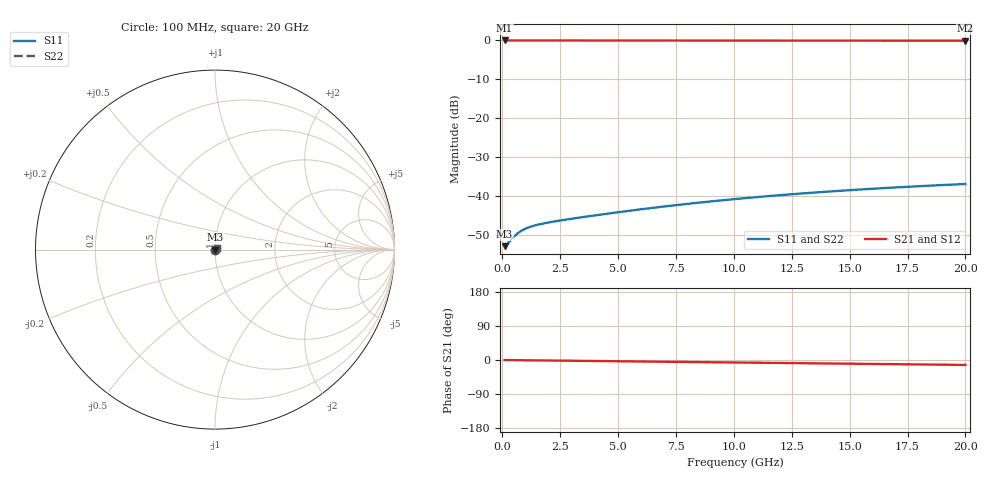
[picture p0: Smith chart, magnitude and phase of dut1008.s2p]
! Touchstone file exported from HFSS 2026.1.0
!  File:  C:/ffzhzh/LocalFiles/Ansys_Project_Files/temp_train_TMRDL_1008_1783159647_22436.aedt
!  Generated:  06:08:32 PM Jul  4, 2026
!  Design:  TMRDL
!  Project:  temp_train_TMRDL_1008_1783159647_22436
! Variables:
!  h_bsmrdl = 2um
!  h_ox = 20um
!  h_rdl = 5um
!  h_sub = 80um
!  h_tmrdl = 2.16um
!  h_tsv = 80um
!  h_via = 3um
!  l_bsmrdl = 300um
!  l_sub = 623.01um
!  l_tmrdl = 223.01um
!  m_sub = 200um
!  pitch = 22.39um
!  r_tsv = 6um
!  s_tmrdl = 10um
!  w_bsmrdl = 18um
!  w_sub = 500um
!  w_tmrdl = 19.38um
!  x_tsv_center1 = 232.7um
!  x_tsv_center2 = 550.7um
!  x_tsv_center3 = 793.09um
!  x_tsv_center4 = 1111.09um
!  x_tsv_center5 = 1353.48um
!  x_tsv_center6 = 1671.48um
# GHz S MA R 50.000000
! Terminal data exported
! Port[1] = TM_RDL1_1_T1
! Port[2] = TM_RDL1_1_T2
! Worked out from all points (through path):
!   200 points, 100 MHz to 20 GHz, reference 50 ohm
!   highest |S21| = -0.02 dB at 100 MHz (marker M1); lowest = -0.1 dB at 20 GHz (marker M2)
!   group delay of S21, straight-line fit = 1.8 ps
!   lowest |S11| = -52.9 dB at 100 MHz (marker M3), VSWR 1.00, Z = 50.2 + j0.0306 ohm
!   |S11| at or under -10 dB: start of sweep to end of sweep
!   |S22| runs from -52.9 to -36.9 dB; largest |S21 - S12| = 3.1e-15
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0.1  0.002276 7.7  0.9977 -0.1  0.9977 -0.1  0.002276 7.7
! Gamma 0 0 0 0
! Port Impedance 50 0 50 0
0.2  0.002408 14.2  0.9977 -0.2  0.9977 -0.2  0.002408 14.2
0.5  0.003013 24.2  0.9973 -0.4  0.9973 -0.4  0.003013 24.2
0.6  0.003211 25.3  0.9971 -0.5  0.9971 -0.5  0.003211 25.3
0.7  0.003391 26.0  0.997 -0.5  0.997 -0.5  0.003391 25.9
0.8  0.003551 26.3  0.9968 -0.6  0.9968 -0.6  0.003551 26.3
0.9  0.003693 26.5  0.9967 -0.7  0.9967 -0.7  0.003692 26.5
1.1  0.003929 26.6  0.9965 -0.8  0.9965 -0.8  0.003928 26.6
1.4  0.004199 26.9  0.9963 -1.0  0.9963 -1.0  0.004198 26.9
1.9  0.004533 27.9  0.996 -1.3  0.996 -1.3  0.004532 27.9
2.5  0.004862 29.7  0.9958 -1.7  0.9958 -1.7  0.004861 29.7
3.5  0.005386 33.0  0.9956 -2.3  0.9956 -2.3  0.005385 33.0
5.2  0.006319 37.5  0.9952 -3.5  0.9952 -3.5  0.006318 37.6
6.8  0.007245 40.3  0.9948 -4.5  0.9948 -4.5  0.007243 40.3
8.4  0.008191 41.9  0.9944 -5.5  0.9944 -5.5  0.008188 41.9
10.1  0.009194 42.6  0.994 -6.6  0.994 -6.6  0.00919 42.7
11.7  0.01012 42.7  0.9935 -7.7  0.9935 -7.7  0.01011 42.7
13.4  0.01107 42.2  0.993 -8.8  0.993 -8.8  0.01106 42.2
15  0.01192 41.4  0.9925 -9.8  0.9925 -9.8  0.01192 41.5
16.7  0.01279 40.4  0.992 -10.9  0.992 -10.9  0.01278 40.5
18.3  0.01355 39.3  0.9914 -11.9  0.9914 -11.9  0.01354 39.4
20  0.0143 38.0  0.9909 -13.0  0.9909 -13.0  0.01429 38.1
